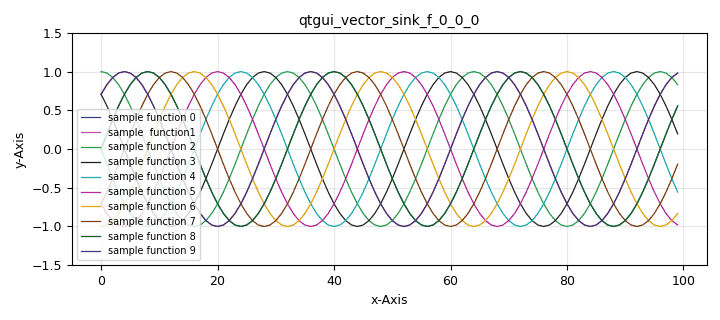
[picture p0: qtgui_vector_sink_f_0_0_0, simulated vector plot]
<?xml version='1.0' encoding='utf-8'?>
<?grc format='1' created='3.7.13'?>
<flow_graph>
<block>
<key>options</key>
<param><key>id</key><value>top_block</value></param>
<param><key>generate_options</key><value>qt_gui</value></param>
<param><key>run</key><value>run_stop</value></param>
</block>
<block>
<key>variable</key>
<param><key>id</key><value>N</value></param>
<param><key>value</key><value>100</value></param>
</block>
<block>
<key>variable_qtgui_check_box</key>
<param><key>id</key><value>run_stop</value></param>
<param><key>value</key><value>True</value></param>
<param><key>false</key><value>False</value></param>
<param><key>gui_hint</key><value>0,0,1,1</value></param>
<param><key>label</key><value>Inicial/Parar</value></param>
<param><key>true</key><value>True</value></param>
<param><key>type</key><value>int</value></param>
</block>
<block>
<key>variable</key>
<param><key>id</key><value>samp_rate</value></param>
<param><key>value</key><value>32000</value></param>
</block>
<block>
<key>E3TRadio_vector_average_hob</key>
<param><key>id</key><value>E3TRadio_vector_average_hob_0</value></param>
<param><key>Nensayos</key><value>1000</value></param>
<param><key>N</key><value>N</value></param>
</block>
<block>
<key>analog_sig_source_x</key>
<param><key>id</key><value>analog_sig_source_x_0</value></param>
<param><key>amp</key><value>1</value></param>
<param><key>freq</key><value>1000</value></param>
<param><key>offset</key><value>0</value></param>
<param><key>type</key><value>float</value></param>
<param><key>samp_rate</key><value>samp_rate</value></param>
<param><key>waveform</key><value>analog.GR_COS_WAVE</value></param>
</block>
<block>
<key>blocks_stream_to_streams</key>
<param><key>id</key><value>blocks_stream_to_streams_0</value></param>
<param><key>type</key><value>float</value></param>
<param><key>num_streams</key><value>10</value></param>
<param><key>vlen</key><value>N</value></param>
</block>
<block>
<key>blocks_stream_to_vector</key>
<param><key>id</key><value>blocks_stream_to_vector_0</value></param>
<param><key>type</key><value>float</value></param>
<param><key>num_items</key><value>N</value></param>
</block>
<block>
<key>blocks_throttle</key>
<param><key>id</key><value>blocks_throttle_0</value></param>
<param><key>samples_per_second</key><value>samp_rate</value></param>
<param><key>type</key><value>float</value></param>
</block>
<block>
<key>qtgui_vector_sink_f</key>
<param><key>id</key><value>qtgui_vector_sink_f_0</value></param>
<param><key>width1</key><value>3</value></param>
<param><key>name</key><value>"promedio"</value></param>
<param><key>showports</key><value>True</value></param>
<param><key>vlen</key><value>N</value></param>
<param><key>x_start</key><value>0</value></param>
<param><key>x_step</key><value>1.0</value></param>
<param><key>ymax</key><value>0.004</value></param>
<param><key>ymin</key><value>-0.004</value></param>
</block>
<block>
<key>qtgui_vector_sink_f</key>
<param><key>id</key><value>qtgui_vector_sink_f_0_0_0</value></param>
<param><key>label1</key><value>sample function 0</value></param>
<param><key>width1</key><value>3</value></param>
<param><key>label10</key><value>sample function 9</value></param>
<param><key>width10</key><value>3</value></param>
<param><key>label2</key><value>sample  function1</value></param>
<param><key>width2</key><value>3</value></param>
<param><key>label3</key><value>sample function 2</value></param>
<param><key>width3</key><value>3</value></param>
<param><key>label4</key><value>sample function 3</value></param>
<param><key>width4</key><value>3</value></param>
<param><key>label5</key><value>sample function 4</value></param>
<param><key>width5</key><value>3</value></param>
<param><key>label6</key><value>sample function 5</value></param>
<param><key>width6</key><value>3</value></param>
<param><key>label7</key><value>sample function 6</value></param>
<param><key>width7</key><value>3</value></param>
<param><key>label8</key><value>sample function 7</value></param>
<param><key>width8</key><value>3</value></param>
<param><key>label9</key><value>sample function 8</value></param>
<param><key>width9</key><value>3</value></param>
<param><key>nconnections</key><value>10</value></param>
<param><key>showports</key><value>True</value></param>
<param><key>vlen</key><value>N</value></param>
<param><key>x_start</key><value>0</value></param>
<param><key>x_step</key><value>1.0</value></param>
<param><key>ymax</key><value>1.5</value></param>
<param><key>ymin</key><value>-1.5</value></param>
</block>
<connection><source_block_id>E3TRadio_vector_average_hob_0</source_block_id><sink_block_id>qtgui_vector_sink_f_0</sink_block_id><source_key>0</source_key><sink_key>0</sink_key></connection>
<connection><source_block_id>analog_sig_source_x_0</source_block_id><sink_block_id>blocks_throttle_0</sink_block_id><source_key>0</source_key><sink_key>0</sink_key></connection>
<connection><source_block_id>blocks_stream_to_streams_0</source_block_id><sink_block_id>qtgui_vector_sink_f_0_0_0</sink_block_id><source_key>0</source_key><sink_key>0</sink_key></connection>
<connection><source_block_id>blocks_stream_to_streams_0</source_block_id><sink_block_id>qtgui_vector_sink_f_0_0_0</sink_block_id><source_key>1</source_key><sink_key>1</sink_key></connection>
<connection><source_block_id>blocks_stream_to_streams_0</source_block_id><sink_block_id>qtgui_vector_sink_f_0_0_0</sink_block_id><source_key>2</source_key><sink_key>2</sink_key></connection>
<connection><source_block_id>blocks_stream_to_streams_0</source_block_id><sink_block_id>qtgui_vector_sink_f_0_0_0</sink_block_id><source_key>3</source_key><sink_key>3</sink_key></connection>
<connection><source_block_id>blocks_stream_to_streams_0</source_block_id><sink_block_id>qtgui_vector_sink_f_0_0_0</sink_block_id><source_key>4</source_key><sink_key>4</sink_key></connection>
<connection><source_block_id>blocks_stream_to_streams_0</source_block_id><sink_block_id>qtgui_vector_sink_f_0_0_0</sink_block_id><source_key>5</source_key><sink_key>5</sink_key></connection>
<connection><source_block_id>blocks_stream_to_streams_0</source_block_id><sink_block_id>qtgui_vector_sink_f_0_0_0</sink_block_id><source_key>6</source_key><sink_key>6</sink_key></connection>
<connection><source_block_id>blocks_stream_to_streams_0</source_block_id><sink_block_id>qtgui_vector_sink_f_0_0_0</sink_block_id><source_key>7</source_key><sink_key>7</sink_key></connection>
<connection><source_block_id>blocks_stream_to_streams_0</source_block_id><sink_block_id>qtgui_vector_sink_f_0_0_0</sink_block_id><source_key>8</source_key><sink_key>8</sink_key></connection>
<connection><source_block_id>blocks_stream_to_streams_0</source_block_id><sink_block_id>qtgui_vector_sink_f_0_0_0</sink_block_id><source_key>9</source_key><sink_key>9</sink_key></connection>
<connection><source_block_id>blocks_stream_to_vector_0</source_block_id><sink_block_id>E3TRadio_vector_average_hob_0</sink_block_id><source_key>0</source_key><sink_key>0</sink_key></connection>
<connection><source_block_id>blocks_stream_to_vector_0</source_block_id><sink_block_id>blocks_stream_to_streams_0</sink_block_id><source_key>0</source_key><sink_key>0</sink_key></connection>
<connection><source_block_id>blocks_throttle_0</source_block_id><sink_block_id>blocks_stream_to_vector_0</sink_block_id><source_key>0</source_key><sink_key>0</sink_key></connection>
</flow_graph>
